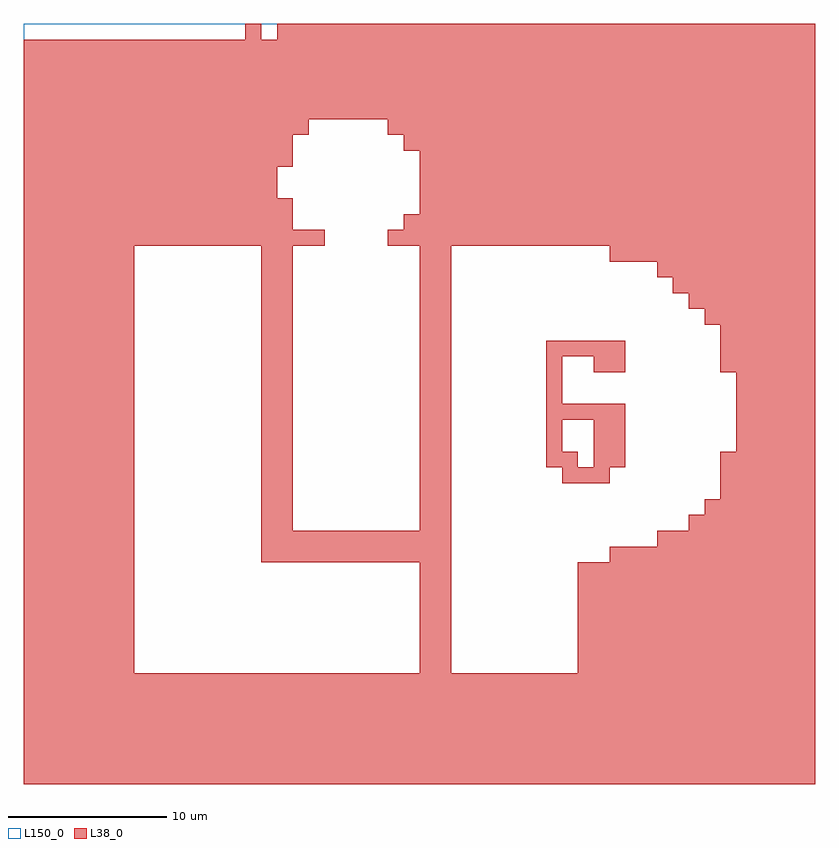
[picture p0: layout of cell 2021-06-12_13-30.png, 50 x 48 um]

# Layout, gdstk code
import gdstk
lib = gdstk.Library(unit=1e-6, precision=1e-09)
def R(c, l, rs):  # rectangles x0, y0, x1, y1
    for r in rs: c.add(gdstk.rectangle(r[:2], r[2:], *l))
def A(c, l, x, y, w, h, nx, ny, dx, dy):  # array of equal rectangles
    R(c, l, [(x+i*dx, y+j*dy, x+i*dx+w, y+j*dy+h) for i in range(nx) for j in range(ny)])
L38_0 = (38, 0)
L150_0 = (150, 0)

c_2021_06_12_13_30_png = lib.new_cell('2021-06-12_13-30.png')
A(c_2021_06_12_13_30_png, L38_0, -25, -24, 50, 1, 1, 7, 0, 1)
A(c_2021_06_12_13_30_png, L38_0, -25, -17, 7, 1, 1, 27, 0, 1)
A(c_2021_06_12_13_30_png, L38_0, 0, -17, 2, 1, 1, 7, 0, 1)
A(c_2021_06_12_13_30_png, L38_0, 10, -17, 15, 1, 1, 7, 0, 1)
A(c_2021_06_12_13_30_png, L38_0, -10, -8, 2, 1, 1, 18, 0, 1)
A(c_2021_06_12_13_30_png, L38_0, 0, -8, 2, 1, 1, 18, 0, 1)
A(c_2021_06_12_13_30_png, L38_0, 19, -6, 6, 1, 1, 3, 0, 1)
A(c_2021_06_12_13_30_png, L38_0, 11, -4, 2, 1, 1, 3, 0, 1)
A(c_2021_06_12_13_30_png, L38_0, 20, -3, 5, 1, 1, 5, 0, 1)
A(c_2021_06_12_13_30_png, L38_0, 8, 0, 1, 1, 1, 3, 0, 1)
A(c_2021_06_12_13_30_png, L38_0, 19, 2, 6, 1, 1, 3, 0, 1)
A(c_2021_06_12_13_30_png, L38_0, 0, 12, 25, 1, 1, 4, 0, 1)
A(c_2021_06_12_13_30_png, L38_0, -25, 18, 50, 1, 1, 5, 0, 1)
R(c_2021_06_12_13_30_png, L38_0, [(-10,-10,2,-9), (12,-10,25,-9), (-10,-9,2,-8), (15,-9,25,-8), (17,-8,25,-7), (18,-7,25,-6), (9,-5,12,-4), (8,-4,10,-3), (8,-3,9,-2), (8,-2,9,-1), (8,-1,13,0), (11,2,13,3), (8,3,13,4), (18,5,25,6), (17,6,25,7), (16,7,25,8), (15,8,25,9), (12,9,25,10), (-25,10,-6,11), (-2,10,25,11), (-25,11,-8,12), (-1,11,25,12), (-25,12,-8,13), (-25,13,-9,14), (-25,14,-9,15), (-25,15,-8,16), (-25,16,-8,17), (-1,16,25,17), (-25,17,-7,18), (-2,17,25,18), (-11,23,-10,24), (-9,23,25,24)])
R(c_2021_06_12_13_30_png, L150_0, [(-25,-24,25,24)])

lib.write_gds('2021-06-12_13-30.png.gds')
